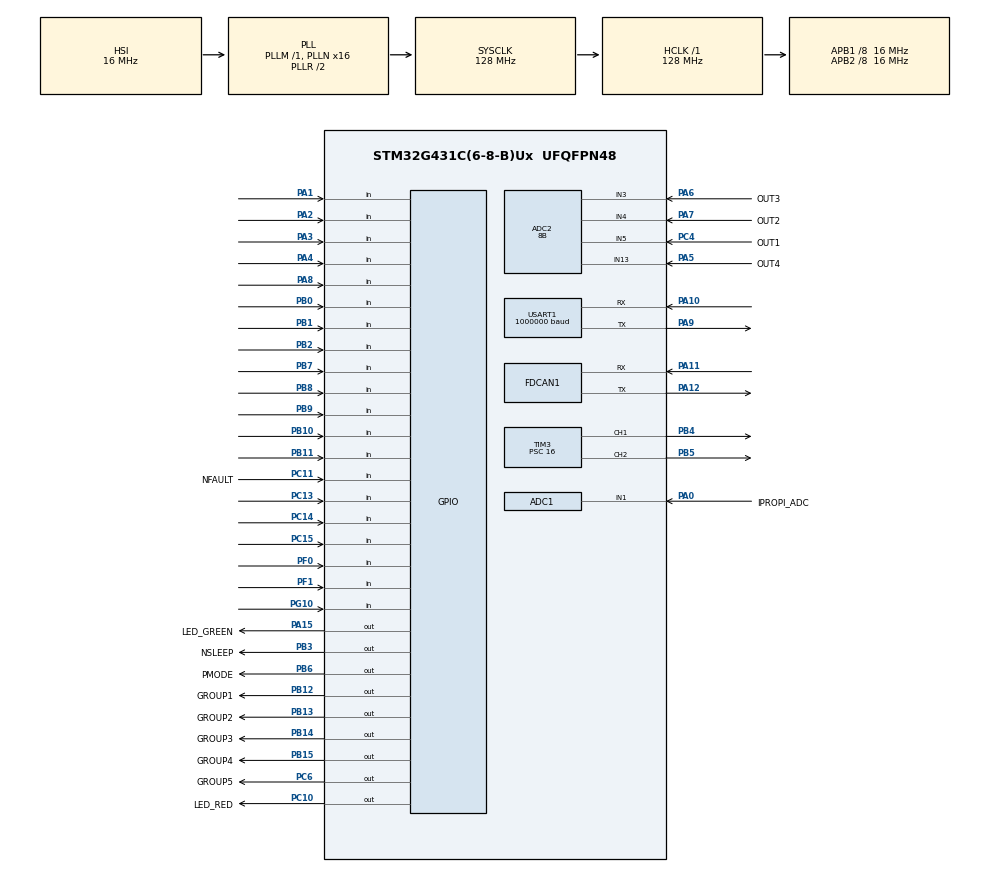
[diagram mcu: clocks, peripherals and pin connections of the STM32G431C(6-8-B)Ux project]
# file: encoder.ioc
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ADC1.Channel-0\#ChannelRegularConversion=ADC_CHANNEL_1
ADC1.NbrOfConversionFlag=1
ADC1.OffsetNumber-0\#ChannelRegularConversion=ADC_OFFSET_NONE
ADC1.Rank-0\#ChannelRegularConversion=1
ADC1.SamplingTime-0\#ChannelRegularConversion=ADC_SAMPLETIME_2CYCLES_5
ADC1.master=1
ADC2.Channel-0\#ChannelRegularConversion=ADC_CHANNEL_5
ADC2.Channel-1\#ChannelRegularConversion=ADC_CHANNEL_4
ADC2.Channel-2\#ChannelRegularConversion=ADC_CHANNEL_3
ADC2.Channel-3\#ChannelRegularConversion=ADC_CHANNEL_13
ADC2.DMAContinuousRequests=ENABLE
ADC2.EOCSelection=ADC_EOC_SEQ_CONV
ADC2.NbrOfConversion=4
ADC2.NbrOfConversionFlag=1
ADC2.OffsetNumber-0\#ChannelRegularConversion=ADC_OFFSET_NONE
ADC2.OffsetNumber-1\#ChannelRegularConversion=ADC_OFFSET_NONE
ADC2.OffsetNumber-2\#ChannelRegularConversion=ADC_OFFSET_NONE
ADC2.OffsetNumber-3\#ChannelRegularConversion=ADC_OFFSET_NONE
ADC2.Rank-0\#ChannelRegularConversion=1
ADC2.Rank-1\#ChannelRegularConversion=2
ADC2.Rank-2\#ChannelRegularConversion=3
ADC2.Rank-3\#ChannelRegularConversion=4
ADC2.Resolution=ADC_RESOLUTION_8B
ADC2.SamplingTime-0\#ChannelRegularConversion=ADC_SAMPLETIME_47CYCLES_5
ADC2.SamplingTime-1\#ChannelRegularConversion=ADC_SAMPLETIME_47CYCLES_5
ADC2.SamplingTime-2\#ChannelRegularConversion=ADC_SAMPLETIME_47CYCLES_5
ADC2.SamplingTime-3\#ChannelRegularConversion=ADC_SAMPLETIME_47CYCLES_5
Dma.ADC2.0.Direction=DMA_PERIPH_TO_MEMORY
Dma.ADC2.0.EventEnable=DISABLE
Dma.ADC2.0.Instance=DMA1_Channel1
Dma.ADC2.0.MemDataAlignment=DMA_MDATAALIGN_BYTE
Dma.ADC2.0.MemInc=DMA_MINC_ENABLE
Dma.ADC2.0.Mode=DMA_NORMAL
Dma.ADC2.0.PeriphDataAlignment=DMA_PDATAALIGN_HALFWORD
Dma.ADC2.0.PeriphInc=DMA_PINC_DISABLE
Dma.ADC2.0.Polarity=HAL_DMAMUX_REQ_GEN_RISING
Dma.ADC2.0.Priority=DMA_PRIORITY_LOW
Dma.ADC2.0.RequestNumber=1
Dma.ADC2.0.SignalID=NONE
Dma.ADC2.0.SyncEnable=DISABLE
Dma.ADC2.0.SyncPolarity=HAL_DMAMUX_SYNC_NO_EVENT
Dma.ADC2.0.SyncRequestNumber=1
Dma.ADC2.0.SyncSignalID=NONE
Dma.Request0=ADC2
FDCAN1.AutoRetransmission=ENABLE
FDCAN1.ClockDivider=FDCAN_CLOCK_DIV1
FDCAN1.DataSyncJumpWidth=4
FDCAN1.DataTimeSeg1=11
FDCAN1.DataTimeSeg2=4
FDCAN1.NominalSyncJumpWidth=4
FDCAN1.NominalTimeSeg1=11
FDCAN1.NominalTimeSeg2=4
FREERTOS.Mutexes01=uartMutex,Dynamic,NULL
FREERTOS.Queues01=myQueue01,100,uint8_t,0,Dynamic,NULL,NULL
FREERTOS.Tasks01=PID,24,128,threadPID_Loop,Default,NULL,Dynamic,NULL,NULL;myTask02,8,128,thread2,Default,NULL,Dynamic,NULL,NULL;greenLED_Blink,8,128,threadGreenLED,Default,NULL,Dynamic,NULL,NULL
Mcu.Family=STM32G4
Mcu.Name=STM32G431C(6-8-B)Ux
Mcu.Package=UFQFPN48
NVIC.DMA1_Channel1_IRQn=true\:5\:0\:false\:false\:true\:true\:false\:true
NVIC.FDCAN1_IT0_IRQn=true\:5\:0\:false\:false\:true\:true\:true\:true
NVIC.PriorityGroup=NVIC_PRIORITYGROUP_4
NVIC.TIM1_UP_TIM16_IRQn=true\:0\:0\:false\:false\:true\:false\:false\:true
NVIC.TimeBase=TIM1_UP_TIM16_IRQn
NVIC.TimeBaseIP=TIM1
PA0.GPIO_Label=IPROPI_ADC
PA0.Mode=IN1-Single-Ended
PA0.Signal=ADC1_IN1
PA1.GPIO_Mode=GPIO_MODE_INPUT
PA1.GPIO_PuPd=GPIO_PULLDOWN
PA1.Signal=GPIO_Input
PA10.Mode=Asynchronous
PA10.Signal=USART1_RX
PA11.Mode=FDCAN_Activate
PA11.Signal=FDCAN1_RX
PA12.Mode=FDCAN_Activate
PA12.Signal=FDCAN1_TX
PA13.Mode=Serial_Wire
PA13.Signal=SYS_JTMS-SWDIO
PA14.Mode=Serial_Wire
PA14.Signal=SYS_JTCK-SWCLK
PA15.GPIO_Label=LED_GREEN
PA15.Signal=GPIO_Output
PA2.GPIO_Mode=GPIO_MODE_INPUT
PA2.GPIO_PuPd=GPIO_PULLDOWN
PA2.Signal=GPIO_Input
PA3.GPIO_Mode=GPIO_MODE_INPUT
PA3.GPIO_PuPd=GPIO_PULLDOWN
PA3.Signal=GPIO_Input
PA4.GPIO_Mode=GPIO_MODE_INPUT
PA4.GPIO_PuPd=GPIO_PULLDOWN
PA4.Signal=GPIO_Input
PA5.GPIO_Label=OUT4
PA5.Mode=IN13-Single-Ended
PA5.Signal=ADC2_IN13
PA6.GPIO_Label=OUT3
PA6.Mode=IN3-Single-Ended
PA6.Signal=ADC2_IN3
PA7.GPIO_Label=OUT2
PA7.Mode=IN4-Single-Ended
PA7.Signal=ADC2_IN4
PA8.GPIO_Mode=GPIO_MODE_INPUT
PA8.GPIO_PuPd=GPIO_PULLDOWN
PA8.Signal=GPIO_Input
PA9.Mode=Asynchronous
PA9.Signal=USART1_TX
PB0.GPIO_Mode=GPIO_MODE_INPUT
PB0.GPIO_PuPd=GPIO_PULLDOWN
PB0.Signal=GPIO_Input
PB1.GPIO_Mode=GPIO_MODE_INPUT
PB1.GPIO_PuPd=GPIO_PULLDOWN
PB1.Signal=GPIO_Input
PB10.GPIO_Mode=GPIO_MODE_INPUT
PB10.GPIO_PuPd=GPIO_PULLDOWN
PB10.Signal=GPIO_Input
PB11.GPIO_Mode=GPIO_MODE_INPUT
PB11.GPIO_PuPd=GPIO_PULLDOWN
PB11.Signal=GPIO_Input
PB12.GPIO_Label=GROUP1
PB12.GPIO_Speed=GPIO_SPEED_FREQ_HIGH
PB12.PinState=GPIO_PIN_RESET
PB12.Signal=GPIO_Output
PB13.GPIO_Label=GROUP2
PB13.GPIO_Speed=GPIO_SPEED_FREQ_HIGH
PB13.PinState=GPIO_PIN_RESET
PB13.Signal=GPIO_Output
PB14.GPIO_Label=GROUP3
PB14.GPIO_Speed=GPIO_SPEED_FREQ_HIGH
PB14.Signal=GPIO_Output
PB15.GPIO_Label=GROUP4
PB15.GPIO_Speed=GPIO_SPEED_FREQ_HIGH
PB15.Signal=GPIO_Output
PB2.GPIO_Mode=GPIO_MODE_INPUT
PB2.GPIO_PuPd=GPIO_PULLDOWN
PB2.Signal=GPIO_Input
PB3.GPIO_Label=NSLEEP
PB3.Signal=GPIO_Output
PB4.Signal=S_TIM3_CH1
PB5.Signal=S_TIM3_CH2
PB6.GPIO_Label=PMODE
PB6.PinState=GPIO_PIN_SET
PB6.Signal=GPIO_Output
PB7.GPIO_Mode=GPIO_MODE_INPUT
PB7.GPIO_PuPd=GPIO_PULLDOWN
PB7.Signal=GPIO_Input
PB8-BOOT0.GPIO_Mode=GPIO_MODE_INPUT
PB8-BOOT0.GPIO_PuPd=GPIO_PULLDOWN
PB8-BOOT0.Signal=GPIO_Input
PB9.GPIO_Mode=GPIO_MODE_INPUT
PB9.GPIO_PuPd=GPIO_PULLDOWN
PB9.Signal=GPIO_Input
PC10.GPIO_Label=LED_RED
PC10.Signal=GPIO_Output
PC11.GPIO_Label=NFAULT
PC11.Signal=GPIO_Input
PC13.GPIO_Mode=GPIO_MODE_INPUT
PC13.GPIO_PuPd=GPIO_PULLDOWN
PC13.Signal=GPIO_Input
PC14-OSC32_IN.GPIO_Mode=GPIO_MODE_INPUT
PC14-OSC32_IN.GPIO_PuPd=GPIO_PULLDOWN
PC14-OSC32_IN.Signal=GPIO_Input
PC15-OSC32_OUT.GPIO_Mode=GPIO_MODE_INPUT
PC15-OSC32_OUT.GPIO_PuPd=GPIO_PULLDOWN
PC15-OSC32_OUT.Signal=GPIO_Input
PC4.GPIO_Label=OUT1
PC4.Mode=IN5-Single-Ended
PC4.Signal=ADC2_IN5
PC6.GPIO_Label=GROUP5
PC6.GPIO_Speed=GPIO_SPEED_FREQ_HIGH
PC6.Signal=GPIO_Output
PF0-OSC_IN.GPIO_Mode=GPIO_MODE_INPUT
PF0-OSC_IN.GPIO_PuPd=GPIO_PULLDOWN
PF0-OSC_IN.Signal=GPIO_Input
PF1-OSC_OUT.GPIO_Mode=GPIO_MODE_INPUT
PF1-OSC_OUT.GPIO_PuPd=GPIO_PULLDOWN
PF1-OSC_OUT.Signal=GPIO_Input
PG10-NRST.GPIO_PuPd=GPIO_PULLUP
PG10-NRST.Signal=GPIO_Input
ProjectManager.HeapSize=0x200
ProjectManager.StackSize=0x400
ProjectManager.TargetToolchain=STM32CubeIDE
RCC.ADC12Freq_Value=128000000
RCC.AHBFreq_Value=128000000
RCC.APB1CLKDivider=RCC_HCLK_DIV8
RCC.APB1Freq_Value=16000000
RCC.APB1TimFreq_Value=32000000
RCC.APB2CLKDivider=RCC_HCLK_DIV8
RCC.APB2Freq_Value=16000000
RCC.APB2TimFreq_Value=32000000
RCC.CortexFreq_Value=16000000
RCC.Cortex_Div=SYSTICK_CLKSOURCE_HCLK_DIV8
RCC.EXTERNAL_CLOCK_VALUE=12288000
RCC.HCLKFreq_Value=128000000
RCC.HSE_VALUE=8000000
RCC.HSI48_VALUE=48000000
RCC.HSI_VALUE=16000000
RCC.LSE_VALUE=32768
RCC.PLLN=16
RCC.SYSCLKFreq_VALUE=128000000
RCC.SYSCLKSource=RCC_SYSCLKSOURCE_PLLCLK
RCC.USBFreq_Value=128000000
RCC.VCOOutputFreq_Value=256000000
SH.S_TIM3_CH1.0=TIM3_CH1,PWM Generation1 CH1
SH.S_TIM3_CH2.0=TIM3_CH2,PWM Generation2 CH2
STMicroelectronics.X-CUBE-ALGOBUILD.1.1.0.LibraryCcDSPOoLibraryJjDSPOoLibrary=true
TIM3.Channel-PWM\ Generation1\ CH1=TIM_CHANNEL_1
TIM3.Channel-PWM\ Generation2\ CH2=TIM_CHANNEL_2
TIM3.PeriodNoDither=127
TIM3.Prescaler=16
USART1.BaudRate=1000000
USART1.VirtualMode-Asynchronous=VM_ASYNC
VP_FREERTOS_VS_CMSIS_V2.Mode=CMSIS_V2
VP_SYS_VS_DBSignals.Mode=DisableDeadBatterySignals
VP_SYS_VS_tim1.Mode=TIM1
board=custom

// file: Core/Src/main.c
/* USER CODE BEGIN Header */
/**
  ******************************************************************************
  * @file           : main.c
  * @brief          : Main program body
  ******************************************************************************
  * @attention
  *
  * <h2><center>&copy; Copyright (c) 2021 STMicroelectronics.
  * All rights reserved.</center></h2>
  *
  * This software component is licensed by ST under Ultimate Liberty license
  * SLA0044, the "License"; You may not use this file except in compliance with
  * the License. You may obtain a copy of the License at:
  *                             www.st.com/SLA0044
  *
  ******************************************************************************
  */
/* USER CODE END Header */
#include "main.h"
#include "cmsis_os.h"
#include "adc.h"
#include "dma.h"
#include "fdcan.h"
#include "tim.h"
#include "usart.h"
#include "gpio.h"

void SystemClock_Config(void);
void MX_FREERTOS_Init(void);

int main(void)
{

  /* MCU Configuration--------------------------------------------------------*/

  /* Reset of all peripherals, Initializes the Flash interface and the Systick. */
  HAL_Init();

  /* Configure the system clock */
  SystemClock_Config();

  /* Initialize all configured peripherals */
  MX_GPIO_Init();
  MX_DMA_Init();
  MX_FDCAN1_Init();
  MX_ADC1_Init();
  MX_ADC2_Init();
  MX_TIM3_Init();
  MX_USART1_UART_Init();
  /* USER CODE BEGIN 2 */

  // start CAN bus
  CAN_SetupFilters();
  CAN_SetupInterrupts();
  HAL_FDCAN_Start(&hfdcan1);

  /* USER CODE END 2 */

  /* Init scheduler */
  osKernelInitialize();  /* Call init function for freertos objects (in freertos.c) */
  MX_FREERTOS_Init();
  /* Start scheduler */
  osKernelStart();

  /* We should never get here as control is now taken by the scheduler */
  /* Infinite loop */
  while (1)
  {

  }
}

void SystemClock_Config(void)
{
  RCC_OscInitTypeDef RCC_OscInitStruct = {0};
  RCC_ClkInitTypeDef RCC_ClkInitStruct = {0};
  RCC_PeriphCLKInitTypeDef PeriphClkInit = {0};

  /** Configure the main internal regulator output voltage
  */
  HAL_PWREx_ControlVoltageScaling(PWR_REGULATOR_VOLTAGE_SCALE1);
  /** Initializes the RCC Oscillators according to the specified parameters
  * in the RCC_OscInitTypeDef structure.
  */
  RCC_OscInitStruct.OscillatorType = RCC_OSCILLATORTYPE_HSI;
  RCC_OscInitStruct.HSIState = RCC_HSI_ON;
  RCC_OscInitStruct.HSICalibrationValue = RCC_HSICALIBRATION_DEFAULT;
  RCC_OscInitStruct.PLL.PLLState = RCC_PLL_ON;
  RCC_OscInitStruct.PLL.PLLSource = RCC_PLLSOURCE_HSI;
  RCC_OscInitStruct.PLL.PLLM = RCC_PLLM_DIV1;
  RCC_OscInitStruct.PLL.PLLN = 16;
  RCC_OscInitStruct.PLL.PLLP = RCC_PLLP_DIV2;
  RCC_OscInitStruct.PLL.PLLQ = RCC_PLLQ_DIV2;
  RCC_OscInitStruct.PLL.PLLR = RCC_PLLR_DIV2;
  if (HAL_RCC_OscConfig(&RCC_OscInitStruct) != HAL_OK)
  {
    Error_Handler();
  }
  /** Initializes the CPU, AHB and APB buses clocks
  */
  RCC_ClkInitStruct.ClockType = RCC_CLOCKTYPE_HCLK|RCC_CLOCKTYPE_SYSCLK
                              |RCC_CLOCKTYPE_PCLK1|RCC_CLOCKTYPE_PCLK2;
  RCC_ClkInitStruct.SYSCLKSource = RCC_SYSCLKSOURCE_PLLCLK;
  RCC_ClkInitStruct.AHBCLKDivider = RCC_SYSCLK_DIV1;
  RCC_ClkInitStruct.APB1CLKDivider = RCC_HCLK_DIV8;
  RCC_ClkInitStruct.APB2CLKDivider = RCC_HCLK_DIV8;

  if (HAL_RCC_ClockConfig(&RCC_ClkInitStruct, FLASH_LATENCY_3) != HAL_OK)
  {
    Error_Handler();
  }
  /** Initializes the peripherals clocks
  */
  PeriphClkInit.PeriphClockSelection = RCC_PERIPHCLK_USART1|RCC_PERIPHCLK_ADC12
                              |RCC_PERIPHCLK_FDCAN;
  PeriphClkInit.Usart1ClockSelection = RCC_USART1CLKSOURCE_PCLK2;
  PeriphClkInit.FdcanClockSelection = RCC_FDCANCLKSOURCE_PCLK1;
  PeriphClkInit.Adc12ClockSelection = RCC_ADC12CLKSOURCE_SYSCLK;
  if (HAL_RCCEx_PeriphCLKConfig(&PeriphClkInit) != HAL_OK)
  {
    Error_Handler();
  }
}

 /**
  * @brief  Period elapsed callback in non blocking mode
  * @note   This function is called  when TIM1 interrupt took place, inside
  * HAL_TIM_IRQHandler(). It makes a direct call to HAL_IncTick() to increment
  * a global variable "uwTick" used as application time base.
  * @param  htim : TIM handle
  * @retval None
  */
void HAL_TIM_PeriodElapsedCallback(TIM_HandleTypeDef *htim)
{
  if (htim->Instance == TIM1) {
    HAL_IncTick();
  }
}

void Error_Handler(void)
{
  __disable_irq();
  while (1)
  {
  }
}

/************************ (C) COPYRIGHT STMicroelectronics *****END OF FILE****/

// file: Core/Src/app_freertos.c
/* USER CODE BEGIN Header */
/**
  ******************************************************************************
  * File Name          : app_freertos.c
  * Description        : Code for freertos applications
  ******************************************************************************
  * @attention
  *
  * <h2><center>&copy; Copyright (c) 2021 STMicroelectronics.
  * All rights reserved.</center></h2>
  *
  * This software component is licensed by ST under Ultimate Liberty license
  * SLA0044, the "License"; You may not use this file except in compliance with
  * the License. You may obtain a copy of the License at:
  *                             www.st.com/SLA0044
  *
  ******************************************************************************
  */
/* USER CODE END Header */

#include "FreeRTOS.h"
#include "task.h"
#include "main.h"
#include "cmsis_os.h"

/* USER CODE BEGIN Includes */
#include "usart.h"
#include "semphr.h"
#include "queue.h"
#include "stm32g4xx_hal_gpio.h"
#include "stm32g4xx_hal_uart.h"
#include "hall_sensor.h"
#include <stdio.h>
#include <string.h>
#include "motor.h"
#include "fdcan.h"
#include "LED.h"
/* USER CODE END Includes */

/* USER CODE BEGIN Variables */
osThreadId_t myTask03Handle;
const osThreadAttr_t myTask03_attributes = {
  .name = "myTask03",
  .priority = (osPriority_t) osPriorityLow,
  .stack_size = 128 * 4
};

osThreadId_t threadMainHandle;
const osThreadAttr_t threadMain_attributes = {
  .name = "Main",
  .priority = (osPriority_t) osPriorityNormal,
  .stack_size = 128 * 4
};

osThreadId_t threadLEDHandle;
const osThreadAttr_t threadLED_attributes = {
  .name = "LED",
  .priority = (osPriority_t) osPriorityLow,
  .stack_size = 128 * 4
};

/* USER CODE END Variables */
/* Definitions for PID */
osThreadId_t PIDHandle;
const osThreadAttr_t PID_attributes = {
  .name = "PID",
  .priority = (osPriority_t) osPriorityNormal,
  .stack_size = 128 * 4
};
/* Definitions for myTask02 */
osThreadId_t myTask02Handle;
const osThreadAttr_t myTask02_attributes = {
  .name = "myTask02",
  .priority = (osPriority_t) osPriorityLow,
  .stack_size = 128 * 4
};
/* Definitions for greenLED_Blink */
osThreadId_t greenLED_BlinkHandle;
const osThreadAttr_t greenLED_Blink_attributes = {
  .name = "greenLED_Blink",
  .priority = (osPriority_t) osPriorityLow,
  .stack_size = 128 * 4
};
/* Definitions for myQueue01 */
osMessageQueueId_t myQueue01Handle;
const osMessageQueueAttr_t myQueue01_attributes = {
  .name = "myQueue01"
};
/* Definitions for uartMutex */
osMutexId_t uartMutexHandle;
const osMutexAttr_t uartMutex_attributes = {
  .name = "uartMutex"
};

/* USER CODE BEGIN FunctionPrototypes */
void thread3(void *argument);
void threadMain(void *argument);
void threadLED(void *argument);
/* USER CODE END FunctionPrototypes */

void threadPID_Loop(void *argument);
void thread2(void *argument);
void threadGreenLED(void *argument);

void MX_FREERTOS_Init(void); /* (MISRA C 2004 rule 8.1) */

void MX_FREERTOS_Init(void) {
  /* Create the mutex(es) */
  /* creation of uartMutex */
  uartMutexHandle = osMutexNew(&uartMutex_attributes);

  /* Create the queue(s) */
  /* creation of myQueue01 */
  myQueue01Handle = osMessageQueueNew (100, sizeof(uint8_t), &myQueue01_attributes);

  /* Create the thread(s) */
  /* creation of PID */
  PIDHandle = osThreadNew(threadPID_Loop, NULL, &PID_attributes);

  /* creation of myTask02 */
  //myTask02Handle = osThreadNew(thread2, NULL, &myTask02_attributes);

  /* creation of greenLED_Blink */
  //greenLED_BlinkHandle = osThreadNew(threadGreenLED, NULL, &greenLED_Blink_attributes);

  /* USER CODE BEGIN RTOS_THREADS */
  /* add threads, ... */
  //myTask03Handle = osThreadNew(thread3, NULL, &myTask03_attributes);
  threadMainHandle = osThreadNew(threadMain, NULL, &threadMain_attributes);
  threadLEDHandle = osThreadNew(threadLED, NULL, &threadLED_attributes);
  /* USER CODE END RTOS_THREADS */

}

void threadPID_Loop(void *argument)
{
  /* USER CODE BEGIN threadPID_Loop */
	TickType_t xLastWakeTime;
	const TickType_t xFrequency = 10;	// TEMPORARY, set to 10ms after no UART interaction is needed
	// Initialize the xLastWakeTime variable with the current time.
	xLastWakeTime = xTaskGetTickCount();

	//int16_t hallSensorValues[SENSOR_COUNT] = {0,0,0,0,0,0,0,0,0,0,0,0,0,0,0,0,0,0,0,0};
	//int32_t interpolatedHallSensorValues[INTERPOLATED_SENSOR_ARRAY_LENGTH];

	uint32_t hallSensorValues[5] = {0,0,0,0,0};
	uint8_t currentPosition = 0;
	uint8_t lastPosition = 0;

	//arm_pid_instance_q15 pid;
	//arm_pid_init_q15 (&pid, 1);

	// positive pwm turns joint (worm gear motor) in the same direction as marked by arrow

	// gets initial position and sets it as target
	updateSensorValues(hallSensorValues);
	currentPosition = calculateSensorPosition(hallSensorValues, 0, 0xff);
	lastPosition = currentPosition;

	motorEnable();
	motorSetTarget(currentPosition);
	motorSetPWM(0);

	/*// CAN message for transmission
	FDCAN_TxHeaderTypeDef txh;
	txh.Identifier = 0x7ff;
	txh.IdType = FDCAN_STANDARD_ID;
	txh.TxFrameType = FDCAN_DATA_FRAME;
	txh.DataLength = FDCAN_DLC_BYTES_8;
	txh.FDFormat = FDCAN_CLASSIC_CAN;
	uint8_t data[8] = {0, 1, 2, 3, 4, 5, 6, 7};
	HAL_FDCAN_AddMessageToTxFifoQ(&hfdcan1, &txh, data);*/

	/*double kp = 35;
	double ki = 0.07;
	double kd = 0;
	double kpe = 0;
	double kpi = 0;
	double kpd = 0;
	double error = 0;
	double error_i = 0;
	double error_d = 0;
	double last_error = 0;
	double pwm_d = 0;
	int16_t pwm_16 = 0;
	int16_t motor_direction = -1;

	TickType_t previous_time = xTaskGetTickCount();
	TickType_t current_time = xTaskGetTickCount();
	TickType_t elapsedTime = current_time - previous_time;*/

	/*float kp = 35;
	float ki = 0.07;
	float kd = 0;
	float kpe = 0;
	float kpi = 0;
	float kpd = 0;
	float error = 0;
	float error_i = 0;
	float error_d = 0;
	float last_error = 0;
	float pwm_d = 0;
	uint8_t pwm_8 = 0;
	int16_t motor_direction = -1;

	TickType_t previous_time = xTaskGetTickCount();
	TickType_t current_time = xTaskGetTickCount();
	TickType_t elapsedTime = current_time - previous_time;*/

	//float error = 0;
	float last_error = 0;
	float error_p_f = 0;
	float error_i_f = 0;
	float error_d_f = 0;
	//float error_i_decay = 0.99;

	float kp = 100;
	float ki = 0.001;		// cannot be set to 0
	float kd = 0.001;
	float pid_output = 0;

	float dt = 0.01;		// time change 10ms

	float ti = kp/ki;
	float td = kd/kp;

	int8_t pwm = 0;
	int8_t error_p = 0;
	int8_t error_i = 0;
	int8_t error_d = 0;

	/* Infinite loop */
	for(;;)
	{
		//HAL_GPIO_WritePin(LED_GREEN_GPIO_Port, LED_GREEN_Pin, GPIO_PIN_SET);

		// rough pseudocode:
		// 		get hall sensor readings
		// 		calculate position
		// 		calculate PID parameters
		// 		set PWM
		// 		wait until next cycle

		// 	optimization log:
		// 		initial solution with interpolated wavelets: 20ms
		//		replaced interpolation with 512-position look up tables, power-of-2 arrays and so on: 5ms
		//		enabled speed optimization in c compiler settings: 1.5ms
		// 		changed pipeline from 12 to 8 bit, 256-position, DSP instructions __USADA8 and __REV, unrolled small loop: 600us
		//

		updateSensorValues(hallSensorValues);
		currentPosition = calculateSensorPosition(hallSensorValues, 0, 0xff);

		//HAL_GPIO_WritePin(LED_GREEN_GPIO_Port, LED_GREEN_Pin, GPIO_PIN_RESET);

		// new pid implementation
		error_p_f = (float) motorGetTarget() - currentPosition;
		error_i_f += error_p_f*dt;
		if (error_i_f > 127) {error_i_f = 127;}
		if (error_i_f < -127) {error_i_f = -127;}
		error_d_f = (error_p_f - last_error)/dt;
		if (error_d_f > 127) {error_d_f = 127;}
		if (error_d_f < -127) {error_d_f = -127;}

		pid_output = kp*(error_p_f + error_i_f/ti + error_d_f*td);

		if (pid_output > 127) {pid_output = 127;}
		if (pid_output < -127) {pid_output = -127;}

		pwm = (int8_t) pid_output;
		error_p = (int8_t) error_p_f;
		error_i = (int8_t) error_i_f;
		error_d = (int8_t) error_d_f;

		last_error = error_p_f;

		motorSetPWM(pwm);

		/*// pid loop
		error_p_f = (float) motorGetTarget() - currentPosition;
		if (error_p_f > -2 && error_p_f < 2) {error_p_f = 0;}
		error_i_f += error_p_f*ki;
		// zeroing error_i when error_p crosses zero
		if (error_p_f > 0 && error_i_f < 0) {error_i_f = 0;}
		if (error_p_f < 0 && error_i_f > 0) {error_i_f = 0;}

		error_i_f = error_i_f*error_i_decay;
		if (error_i_f > 127) {error_i_f = 127;}
		if (error_i_f < -128) {error_i_f = -128;}

		pid_output = error_p_f*kp + error_i_f;

		if (pid_output > 127) {pid_output = 127;}
		if (pid_output < -128) {pid_output = -128;}

		pwm = (int8_t) pid_output;
		error_p = (int8_t) error_p_f;
		error_i = (int8_t) error_i_f;

		motorSetPWM(pwm);*/

		/*// 0.5ms
		getSensorValues(hallSensorValues);
		HAL_GPIO_WritePin(LED_GREEN_GPIO_Port, LED_GREEN_Pin, GPIO_PIN_RESET);

		// < 1ms
		offsetSensorValues(hallSensorValues);

		// < 1ms
		interpolateSensorValues(hallSensorValues, interpolatedHallSensorValues);

		// 18ms
		uint16_t currentPosition = calculateSensorPosition(interpolatedHallSensorValues);

		// pid loop
		current_time = xTaskGetTickCount();
		elapsedTime = current_time - previous_time;

		error = (double) (motorGetTarget() - currentPosition);
		error_i += (double) error*elapsedTime;
		//if (error < 4 && error > -4) {error_i = 0;}
		error_i = error_i*0.9;	// slow decay of integral component, needed to stop power to motor after it has reached its target
		if (elapsedTime != 0) {error_d = (error - last_error)/elapsedTime;}

		kpe = kp*error;
		// trimming error_i so that it does not go too far
		if (error_i > 255/ki) {error_i = 255/ki;}
		if (error_i < -255/ki) {error_i = -255/ki;}
		// zeroing error_i when error crosses zero
		if (error > 0 && error_i < 0) {error_i = 0;}
		if (error < 0 && error_i > 0) {error_i = 0;}
		kpi = ki*error_i;
		//if (kpi > 255) {kpi = 255;}
		//if (kpi < -255) {kpi = -255;}
		kpd = kd*error_d;
		pwm_d = kpe + kpi + kpd;
		// trimming
		if (pwm_d > 255) {pwm_d = 255;}
		if (pwm_d < -255) {pwm_d = -255;}
		pwm_16 = (int16_t) pwm_d;

		last_error = error;
		previous_time = current_time;

		motorSetPWM(motor_direction*pwm_16);*/

		/*if (currentPosition < motorGetTarget()-50) {
			motorSetPWM(-255);
		} else if (currentPosition > motorGetTarget()+50) {
			motorSetPWM(255);
		} else {
			motorSetPWM(0);
		}*/

		/*// print number through uart
		//char str[140] = "";
		for (uint8_t i=0; i<20; ++i) {
			char number[8] = "";
			sprintf(number, "%5.4d", hallSensorValues[i]);
			strncat(str, number, 6);
			if (i < 19) {
				strncat(str, ",", 2);
			} else {
				strncat(str, "\n\r", 5);
			}
		}*/
		//sprintf(str, "%d %d %d %d %d %d %d %d\r\n", hallSensorValues[0], hallSensorValues[1], hallSensorValues[2], hallSensorValues[3], hallSensorValues[4], hallSensorValues[5], hallSensorValues[6], hallSensorValues[7]);

		//uint8_t data[8] = {0, 1, 2, 3, 4, 5, 6, 7};
		// transmit telemetry data via CAN
		/*uint8_t data[8];
		data[0] = (uint8_t) (hallSensorValues[0] >> 8);
		data[1] = (uint8_t) (hallSensorValues[0] >> 0);
		data[2] = (uint8_t) (hallSensorValues[1] >> 8);
		data[3] = (uint8_t) (hallSensorValues[1] >> 0);
		data[4] = (uint8_t) (hallSensorValues[2] >> 8);
		data[5] = (uint8_t) (hallSensorValues[2] >> 0);
		data[6] = (uint8_t) (hallSensorValues[3] >> 8);
		data[7] = (uint8_t) (hallSensorValues[3] >> 0);
		CAN_SendSimple(CAN_SENSOR_GROUP_1_MSG_ID, 8, data);
		*/

		uint8_t data[8];
		data[0] = motorGetTarget();
		data[1] = currentPosition;
		data[2] = pwm;
		data[3] = error_p;
		data[4] = error_i;
		data[5] = error_d;
		data[6] = 0;
		data[7] = 0;

		//CAN_SendSimple(CAN_STATUS_MESSAGE_ID, 8, data);

		/*//int16_t kpi_16 = (int16_t) kpi;
		data[0] = 0;
		data[1] = 0;
		//data[0] = (uint8_t) (motorGetTarget()>>0);
		//data[1] = (uint8_t) (motorGetTarget()>>8);
		data[2] = (uint8_t) (currentPosition>>0);
		data[3] = (uint8_t) (currentPosition>>8);
		data[4] = 0;
		data[5] = 0;
		data[6] = 0;
		data[7] = 0;
		//data[4] = (uint8_t) (pwm_16>>0);
		//data[5] = (uint8_t) (pwm_16>>8);
		//data[6] = (uint8_t) (kpi_16>>0);
		//data[7] = (uint8_t) (kpi_16>>8);*/
		//CAN_SendSimple(CAN_STATUS_MESSAGE_ID, 8, data);

		//while(1) {}

		// xxxxxxxxxxxxxxxxxxxxxxxxxxxxxxxxxxxxxxxxxxxxxxxxxxxxxxxxxxxxxxxxxxx
		// transmit sensor values via CAN
		/*uint8_t data[8];
		data[0] = (uint8_t) (hallSensorValues[0] >> 0);
		data[1] = (uint8_t) (hallSensorValues[0] >> 8);
		data[2] = (uint8_t) (hallSensorValues[0] >> 16);
		data[3] = (uint8_t) (hallSensorValues[0] >> 26);
		data[4] = (uint8_t) (hallSensorValues[1] >> 0);
		data[5] = (uint8_t) (hallSensorValues[1] >> 8);
		data[6] = (uint8_t) (hallSensorValues[1] >> 16);
		data[7] = (uint8_t) (hallSensorValues[1] >> 24);
		CAN_SendSimple(CAN_SENSOR_GROUP_1_MSG_ID, 8, data);

		CAN_SendSimple(CAN_SENSOR_GROUP_2_MSG_ID, 8, data);
		CAN_SendSimple(CAN_SENSOR_GROUP_3_MSG_ID, 4, data);*/

		/*CAN_SendSimple(CAN_SENSOR_GROUP_1_MSG_ID, 8, (uint8_t*) &hallSensorValues[0]);
		CAN_SendSimple(CAN_SENSOR_GROUP_2_MSG_ID, 8, (uint8_t*) &hallSensorValues[2]);
		CAN_SendSimple(CAN_SENSOR_GROUP_3_MSG_ID, 4, (uint8_t*) &hallSensorValues[4]);*/

		/*data[0] = (uint8_t) (sensorValue(0) >> 0);
		data[1] = (uint8_t) (sensorValue(0) >> 8);
		data[2] = (uint8_t) (sensorValue(1) >> 0);
		data[3] = (uint8_t) (sensorValue(1) >> 8);
		data[4] = (uint8_t) (sensorValue(2) >> 0);
		data[5] = (uint8_t) (sensorValue(2) >> 8);
		data[6] = (uint8_t) (sensorValue(3) >> 0);
		data[7] = (uint8_t) (sensorValue(3) >> 8);
		CAN_SendSimple(CAN_SENSOR_GROUP_1_MSG_ID, 8, data);
		data[0] = (uint8_t) (sensorValue(4) >> 0);
		data[1] = (uint8_t) (sensorValue(4) >> 8);
		data[2] = (uint8_t) (sensorValue(5) >> 0);
		data[3] = (uint8_t) (sensorValue(5) >> 8);
		data[4] = (uint8_t) (sensorValue(6) >> 0);
		data[5] = (uint8_t) (sensorValue(6) >> 8);
		data[6] = (uint8_t) (sensorValue(7) >> 0);
		data[7] = (uint8_t) (sensorValue(7) >> 8);
		CAN_SendSimple(CAN_SENSOR_GROUP_2_MSG_ID, 8, data);
		data[0] = (uint8_t) (sensorValue(8) >> 0);
		data[1] = (uint8_t) (sensorValue(8) >> 8);
		data[2] = (uint8_t) (sensorValue(9) >> 0);
		data[3] = (uint8_t) (sensorValue(9) >> 8);
		data[4] = (uint8_t) (sensorValue(10) >> 0);
		data[5] = (uint8_t) (sensorValue(10) >> 8);
		data[6] = (uint8_t) (sensorValue(11) >> 0);
		data[7] = (uint8_t) (sensorValue(11) >> 8);
		CAN_SendSimple(CAN_SENSOR_GROUP_3_MSG_ID, 8, data);
		data[0] = (uint8_t) (sensorValue(12) >> 0);
		data[1] = (uint8_t) (sensorValue(12) >> 8);
		data[2] = (uint8_t) (sensorValue(13) >> 0);
		data[3] = (uint8_t) (sensorValue(13) >> 8);
		data[4] = (uint8_t) (sensorValue(14) >> 0);
		data[5] = (uint8_t) (sensorValue(14) >> 8);
		data[6] = (uint8_t) (sensorValue(15) >> 0);
		data[7] = (uint8_t) (sensorValue(15) >> 8);
		CAN_SendSimple(CAN_SENSOR_GROUP_4_MSG_ID, 8, data);
		data[0] = (uint8_t) (sensorValue(16) >> 0);
		data[1] = (uint8_t) (sensorValue(16) >> 8);
		data[2] = (uint8_t) (sensorValue(17) >> 0);
		data[3] = (uint8_t) (sensorValue(17) >> 8);
		data[4] = (uint8_t) (sensorValue(18) >> 0);
		data[5] = (uint8_t) (sensorValue(18) >> 8);
		data[6] = (uint8_t) (sensorValue(19) >> 0);
		data[7] = (uint8_t) (sensorValue(19) >> 8);
		CAN_SendSimple(CAN_SENSOR_GROUP_5_MSG_ID, 8, data);*/

		/*uint8_t data[8];
		int16_t kpi_16 = (int16_t) kpi;
		data[0] = (uint8_t) (motorGetTarget()>>0);
		data[1] = (uint8_t) (motorGetTarget()>>8);
		data[2] = (uint8_t) (currentPosition>>0);
		data[3] = (uint8_t) (currentPosition>>8);
		data[4] = (uint8_t) (pwm_16>>0);
		data[5] = (uint8_t) (pwm_16>>8);
		data[6] = (uint8_t) (kpi_16>>0);
		data[7] = (uint8_t) (kpi_16>>8);
		CAN_SendSimple(CAN_STATUS_MESSAGE_ID, 8, data);

		CAN_SendSimple(CAN_SENSOR_GROUP_1_MSG_ID, 8, (uint8_t*) &hallSensorValues[0]);
		CAN_SendSimple(CAN_SENSOR_GROUP_2_MSG_ID, 8, (uint8_t*) &hallSensorValues[4]);
		CAN_SendSimple(CAN_SENSOR_GROUP_3_MSG_ID, 8, (uint8_t*) &hallSensorValues[8]);
		CAN_SendSimple(CAN_SENSOR_GROUP_4_MSG_ID, 8, (uint8_t*) &hallSensorValues[12]);
		CAN_SendSimple(CAN_SENSOR_GROUP_5_MSG_ID, 8, (uint8_t*) &hallSensorValues[16]);*/

		// temporary, control motor from keys
		/*char input = 'w';
		HAL_UART_Receive(&huart1, (uint8_t*) &input, 1, 0);
		if (input == 'a') {
			motorSet(-150);
		} else if (input == 'd') {
			motorSet(150);
		} else if (input == '\n') {

		} else if (input == '\r') {

		} else if (input == '\0') {

		} else {
			motorSet(0);
		}*/

		/*xSemaphoreTake(uartMutexHandle, portMAX_DELAY);
		HAL_UART_Transmit(&huart1, (uint8_t*) str, strlen(str), 10);
		xSemaphoreGive(uartMutexHandle);*/

		//HAL_GPIO_WritePin(LED_GREEN_GPIO_Port, LED_GREEN_Pin, GPIO_PIN_RESET);

		vTaskDelayUntil(&xLastWakeTime, xFrequency);	// Wait for the next cycle.
	}
  /* USER CODE END threadPID_Loop */
}

void thread2(void *argument)
{
  /* USER CODE BEGIN thread2 */
  /* Infinite loop */
  for(;;)
  {
    osDelay(100);
  }
  /* USER CODE END thread2 */
}

void threadGreenLED(void *argument)
{
  /* USER CODE BEGIN threadGreenLED */
	TickType_t xLastWakeTime;
	const TickType_t xFrequency = 1000;
	// Initialize the xLastWakeTime variable with the current time.
	xLastWakeTime = xTaskGetTickCount();

	/* Infinite loop */
	for(;;)
	{
		vTaskDelayUntil(&xLastWakeTime, xFrequency);	// Wait for the next cycle.
		/*HAL_GPIO_WritePin(LED_GREEN_GPIO_Port, LED_GREEN_Pin, GPIO_PIN_SET);
		osDelay(50);
		HAL_GPIO_WritePin(LED_GREEN_GPIO_Port, LED_GREEN_Pin, GPIO_PIN_RESET);
		osDelay(100);
		HAL_GPIO_WritePin(LED_GREEN_GPIO_Port, LED_GREEN_Pin, GPIO_PIN_SET);
		osDelay(350);
		HAL_GPIO_WritePin(LED_GREEN_GPIO_Port, LED_GREEN_Pin, GPIO_PIN_RESET);*/
	}
  /* USER CODE END threadGreenLED */
}

/* USER CODE BEGIN Application */
void thread3(void *argument)
{
  /* Infinite loop */
	uint32_t notifValue;

	uint8_t msg;
	osStatus_t status;

  for(;;)
  {
	  xTaskNotifyWait(pdFALSE, 0xFF, &notifValue, portMAX_DELAY);	// waits for notification from another thread
	  if ((notifValue & 0x01) != 0x00) {	// if notification value is 0x01
		  xSemaphoreTake(uartMutexHandle, portMAX_DELAY);
		  HAL_UART_Transmit(&huart1, (uint8_t*) "thread3\n\r", 9, 1);
		  xSemaphoreGive(uartMutexHandle);

		  status = osMessageQueueGet(myQueue01Handle, &msg, NULL, 0U);   // wait for message
		  if (status == osOK) {
			  xSemaphoreTake(uartMutexHandle, portMAX_DELAY);
			  HAL_UART_Transmit(&huart1, &msg, 1, 10);
			  xSemaphoreGive(uartMutexHandle);

		  }

		  /*uint8_t buffer;
		  xQueueReceive(Global_Queue_Handle, &buffer, 100);
		  xSemaphoreTake(uartMutexHandle, portMAX_DELAY);
		  HAL_UART_Transmit(&huart1, &buffer, 1, 10);
		  xSemaphoreGive(uartMutexHandle);*/
	  }
  }
}

void threadMain(void *argument)
{
  HAL_GPIO_WritePin(LED_RED_GPIO_Port, LED_RED_Pin, GPIO_PIN_SET);

  char* pointer = (char*)0x0801f800;

  char result = pointer[0];

  HAL_FLASH_Unlock();

  for(;;)
  {
    osDelay(100);
    if (result == 0xff) {
      HAL_GPIO_TogglePin(LED_RED_GPIO_Port, LED_RED_Pin);
    }

  }
}

void threadLED(void *argument)
{
  TickType_t xLastWakeTime = xTaskGetTickCount(); // current time
  TickType_t xFrequency = 25; // how often this thread is executed, ms

  LED_t green;
  LED_Init(&green, 0x30fff000);

  while(1) {
    HAL_GPIO_WritePin(LED_GREEN_GPIO_Port, LED_GREEN_Pin, LED_NextState(&green));
    vTaskDelayUntil(&xLastWakeTime, xFrequency);  // Wait for the next cycle.
  }
}
/* USER CODE END Application */

/************************ (C) COPYRIGHT STMicroelectronics *****END OF FILE****/
